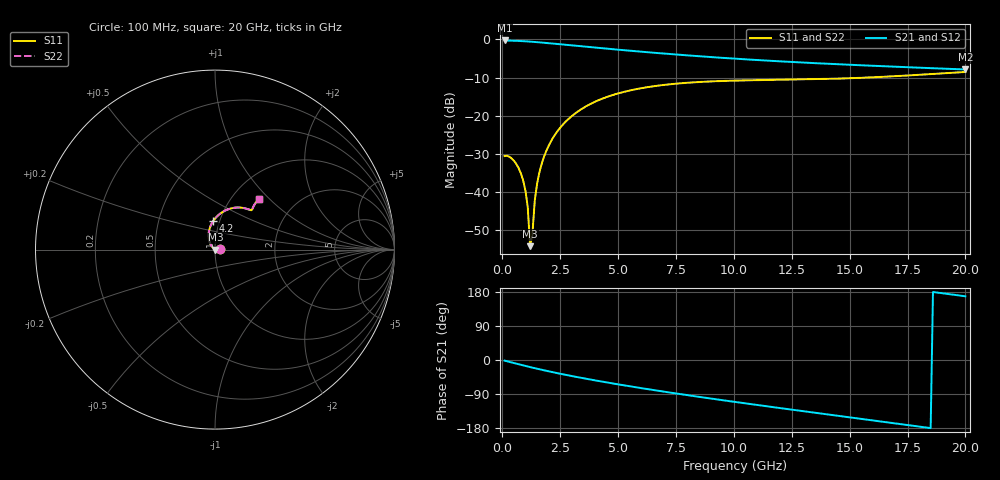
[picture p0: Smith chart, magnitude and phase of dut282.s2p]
! Created with skrf 1.9.0 (http://scikit-rf.org).
# GHz S RI R 50.0
!freq ReS11 ImS11 ReS21 ImS21 ReS12 ImS12 ReS22 ImS22
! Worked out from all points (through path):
!   200 points, 100 MHz to 20 GHz, reference 50 ohm
!   highest |S21| = -0.26 dB at 100 MHz (marker M1); lowest = -7.9 dB at 20 GHz (marker M2)
!   group delay of S21, straight-line fit = 25.2 ps
!   lowest |S11| = -54.2 dB at 1.2 GHz (marker M3), VSWR 1.00, Z = 50.2 - j0.0646 ohm
!   |S11| at or under -10 dB: start of sweep to 15.71 GHz
!   |S22| runs from -54.2 to -8.5 dB; largest |S21 - S12| = 2.6e-15
!   S11 on the Smith chart (normalised r, x): 100 MHz: 1.06, +0.00; 4.2 GHz: 0.93, +0.31; 20 GHz: 1.33, +0.87
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0.1  0.0296 0.000861  0.9695 -0.0294  0.9695 -0.0294  0.0296 0.000861
0.5  0.0252 -0.00521  0.9532 -0.1342  0.9532 -0.1342  0.0252 -0.00521
0.7  0.0198 -0.00608  0.9389 -0.1846  0.9389 -0.1846  0.0198 -0.00608
0.9  0.0132 -0.0053  0.9207 -0.2328  0.9207 -0.2328  0.0132 -0.0053
1  0.00951 -0.00422  0.9103 -0.2558  0.9103 -0.2558  0.00951 -0.00422
1.1  0.00572 -0.00267  0.8992 -0.2782  0.8992 -0.2782  0.00572 -0.00267
1.2  0.00184 -0.000643  0.8874 -0.2997  0.8874 -0.2997  0.00184 -0.000643
1.3  -0.00205 0.00186  0.8749 -0.3206  0.8749 -0.3206  -0.00205 0.00186
1.4  -0.0059 0.00483  0.8619 -0.3406  0.8619 -0.3406  -0.0059 0.00483
1.5  -0.00965 0.00825  0.8484 -0.3599  0.8484 -0.3599  -0.00965 0.00825
1.6  -0.0133 0.0121  0.8344 -0.3783  0.8344 -0.3783  -0.0133 0.0121
1.8  -0.0199 0.0209  0.8054 -0.413  0.8054 -0.413  -0.0199 0.0209
2.1  -0.028 0.0366  0.76 -0.4593  0.76 -0.4593  -0.028 0.0366
2.5  -0.0344 0.0606  0.6974 -0.5115  0.6974 -0.5115  -0.0344 0.0606
3.5  -0.0279 0.1235  0.5397 -0.6023  0.5397 -0.6023  -0.0279 0.1235
4.2  -0.00853 0.1617  0.4335 -0.6393  0.4335 -0.6393  -0.00853 0.1617
5.4  0.0384 0.2071  0.2649 -0.6656  0.2649 -0.6656  0.0384 0.2071
6.8  0.0951 0.2309  0.0935 -0.6531  0.0935 -0.6531  0.0951 0.2309
10.1  0.1799 0.2262  -0.2008 -0.5211  -0.2008 -0.5211  0.1799 0.2262
13.4  0.2044 0.2205  -0.3668 -0.3261  -0.3668 -0.3261  0.2044 0.2205
16.7  0.2165 0.2448  -0.4277 -0.1134  -0.4277 -0.1134  0.2165 0.2448
20  0.2472 0.2815  -0.3952 0.0834  -0.3952 0.0834  0.2472 0.2815
